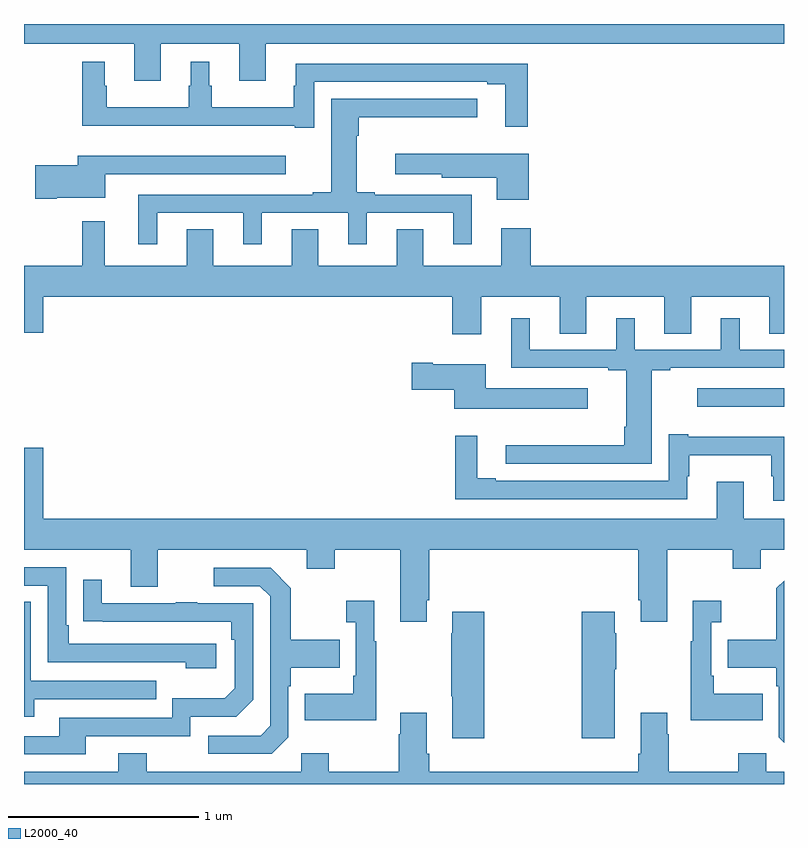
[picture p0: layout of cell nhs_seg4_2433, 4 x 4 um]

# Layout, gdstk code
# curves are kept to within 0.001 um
import gdstk
lib = gdstk.Library(unit=1e-6, precision=1e-09)
def R(c, l, rs):  # rectangles x0, y0, x1, y1
    for r in rs: c.add(gdstk.rectangle(r[:2], r[2:], *l))
def P(c, l, *ps):  # polygons
    for p in ps: c.add(gdstk.Polygon(p, *l))
L2000_40 = (2000, 40)

nhs_seg4_2433 = lib.new_cell('nhs_seg4_2433')
R(nhs_seg4_2433, L2000_40, [(240.543,818.885,241,818.982)])
P(nhs_seg4_2433, L2000_40, [(237.721,820.796),(238.133,820.796),(238.133,820.602),(238.273,820.602),(238.273,820.796),(241,820.796),(241,820.9),(237,820.9),(237,820.796),(237.581,820.796),(237.581,820.602),(237.721,820.602)],
  [(238.527,820.596),(239.438,820.596),(239.438,820.584),(239.534,820.584),(239.534,820.359),(239.651,820.359),(239.651,820.692),(238.43,820.692),(238.43,820.574),(238.419,820.574),(238.419,820.462),(237.988,820.462),(237.988,820.574),(237.976,820.574),(237.976,820.702),(237.878,820.702),(237.878,820.574),(237.867,820.574),(237.867,820.462),(237.436,820.462),(237.436,820.574),(237.424,820.574),(237.424,820.702),(237.307,820.702),(237.307,820.364),(238.424,820.364),(238.424,820.353),(238.527,820.353)],
  [(237.7,819.906),(238.154,819.906),(238.154,819.741),(238.252,819.741),(238.252,819.906),(238.706,819.906),(238.706,819.741),(238.804,819.741),(238.804,819.906),(239.258,819.906),(239.258,819.741),(239.356,819.741),(239.356,820.002),(238.846,820.002),(238.846,820.015),(238.75,820.015),(238.75,820.313),(238.763,820.313),(238.763,820.409),(239.386,820.409),(239.386,820.506),(238.616,820.506),(238.616,820.015),(238.52,820.015),(238.52,820.002),(237.602,820.002),(237.602,819.741),(237.7,819.741)],
  [(239.656,820.216),(238.953,820.216),(238.953,820.109),(239.199,820.109),(239.199,820.091),(239.489,820.091),(239.489,819.975),(239.656,819.975)],
  [(237.172,819.986),(237.427,819.986),(237.427,820.11),(238.378,820.11),(238.378,820.207),(237.284,820.207),(237.284,820.157),(237.06,820.157),(237.06,819.979),(237.172,819.979)],
  [(239.666,819.826),(239.513,819.826),(239.513,819.628),(239.101,819.628),(239.101,819.821),(238.961,819.821),(238.961,819.628),(238.549,819.628),(238.549,819.821),(238.409,819.821),(238.409,819.628),(237.997,819.628),(237.997,819.821),(237.857,819.821),(237.857,819.628),(237.425,819.628),(237.425,819.862),(237.307,819.862),(237.307,819.628),(237,819.628),(237,819.276),(237.1,819.276),(237.1,819.464),(239.255,819.464),(239.255,819.267),(239.407,819.267),(239.407,819.464),(239.819,819.464),(239.819,819.271),(239.959,819.271),(239.959,819.464),(240.371,819.464),(240.371,819.271),(240.511,819.271),(240.511,819.464),(240.923,819.464),(240.923,819.271),(241,819.271),(241,819.628),(239.666,819.628)],
  [(240.304,819.078),(240.4,819.078),(240.4,819.09),(241,819.09),(241,819.186),(240.766,819.186),(240.766,819.352),(240.668,819.352),(240.668,819.186),(240.214,819.186),(240.214,819.352),(240.116,819.352),(240.116,819.186),(239.662,819.186),(239.662,819.352),(239.564,819.352),(239.564,819.09),(240.074,819.09),(240.074,819.078),(240.17,819.078),(240.17,818.779),(240.158,818.779),(240.158,818.684),(239.535,818.684),(239.535,818.586),(240.304,818.586)],
  [(239.968,818.983),(239.431,818.983),(239.431,819.109),(239.152,819.109),(239.152,819.117),(239.04,819.117),(239.04,818.975),(239.264,818.975),(239.264,818.876),(239.968,818.876)],
  [(241,818.728),(240.496,818.728),(240.496,818.74),(240.393,818.74),(240.393,818.496),(239.482,818.496),(239.482,818.509),(239.386,818.509),(239.386,818.734),(239.269,818.734),(239.269,818.4),(240.49,818.4),(240.49,818.519),(240.502,818.519),(240.502,818.63),(240.933,818.63),(240.933,818.519),(240.944,818.519),(240.944,818.391),(241,818.391)],
  [(239.119,817.867),(239.132,817.867),(239.132,818.132),(240.233,818.132),(240.233,817.867),(240.245,817.867),(240.245,817.755),(240.385,817.755),(240.385,818.132),(240.73,818.132),(240.73,818.033),(240.877,818.033),(240.877,818.132),(241,818.132),(241,818.296),(240.787,818.296),(240.787,818.491),(240.647,818.491),(240.647,818.296),(237.1,818.296),(237.1,818.671),(237,818.671),(237,818.132),(237.563,818.132),(237.563,817.938),(237.703,817.938),(237.703,818.132),(238.487,818.132),(238.487,818.033),(238.635,818.033),(238.635,818.132),(238.979,818.132),(238.979,817.755),(239.119,817.755)],
  [(238.012,817.638),(237.235,817.638),(237.235,817.735),(237.222,817.735),(237.222,818.04),(237,818.04),(237,817.944),(237.126,817.944),(237.126,817.542),(237.851,817.542),(237.851,817.508),(238.012,817.508)],
  [(238.392,817.146),(238.392,817.415),(238.405,817.415),(238.405,817.511),(238.661,817.511),(238.661,817.659),(238.405,817.659),(238.405,817.931),(238.299,818.037),(237.999,818.037),(237.999,817.941),(238.242,817.941),(238.296,817.887),(238.296,817.206),(238.245,817.155),(237.969,817.155),(237.969,817.059),(238.305,817.059)],
  [(237.325,817.152),(237.876,817.152),(237.876,817.254),(238.116,817.254),(238.206,817.344),(238.206,817.851),(237.911,817.851),(237.911,817.856),(237.799,817.856),(237.799,817.851),(237.409,817.851),(237.409,817.975),(237.313,817.975),(237.313,817.756),(238.09,817.755),(238.09,817.658),(238.11,817.658),(238.11,817.404),(238.057,817.351),(237.78,817.351),(237.78,817.248),(237.185,817.248),(237.185,817.152),(237,817.152),(237,817.056),(237.325,817.056)],
  [(241,817.971),(240.96,817.931),(240.96,817.659),(240.703,817.659),(240.703,817.511),(240.96,817.511),(240.96,817.415),(240.972,817.415),(240.972,817.146),(241,817.118)],
  [(238.855,817.651),(238.843,817.651),(238.843,817.864),(238.695,817.864),(238.695,817.751),(238.746,817.751),(238.746,817.471),(238.734,817.471),(238.734,817.375),(238.477,817.375),(238.477,817.235),(238.855,817.235)],
  [(240.887,817.375),(240.631,817.375),(240.631,817.471),(240.618,817.471),(240.618,817.751),(240.67,817.751),(240.67,817.864),(240.521,817.864),(240.521,817.651),(240.51,817.651),(240.51,817.235),(240.887,817.235)],
  [(237.055,817.347),(237.695,817.347),(237.695,817.443),(237.036,817.443),(237.036,817.859),(237,817.859),(237,817.253),(237.055,817.253)],
  [(239.423,817.807),(239.255,817.807),(239.255,817.694),(239.248,817.694),(239.248,817.363),(239.255,817.363),(239.255,817.14),(239.423,817.14)],
  [(240.109,817.505),(240.117,817.505),(240.117,817.694),(240.109,817.694),(240.109,817.807),(239.936,817.807),(239.936,817.14),(240.109,817.14)],
  [(241,816.964),(240.906,816.964),(240.906,817.063),(240.76,817.063),(240.76,816.964),(240.393,816.964),(240.393,817.163),(240.385,817.163),(240.385,817.276),(240.245,817.276),(240.245,817.06),(240.233,817.06),(240.233,816.964),(239.132,816.964),(239.132,817.06),(239.119,817.06),(239.119,817.276),(238.979,817.276),(238.979,817.163),(238.972,817.163),(238.972,816.964),(238.605,816.964),(238.605,817.063),(238.458,817.063),(238.458,816.964),(237.645,816.964),(237.645,817.063),(237.497,817.063),(237.497,816.964),(237,816.964),(237,816.9),(241,816.9)])

lib.write_gds('nhs_seg4_2433.gds')
